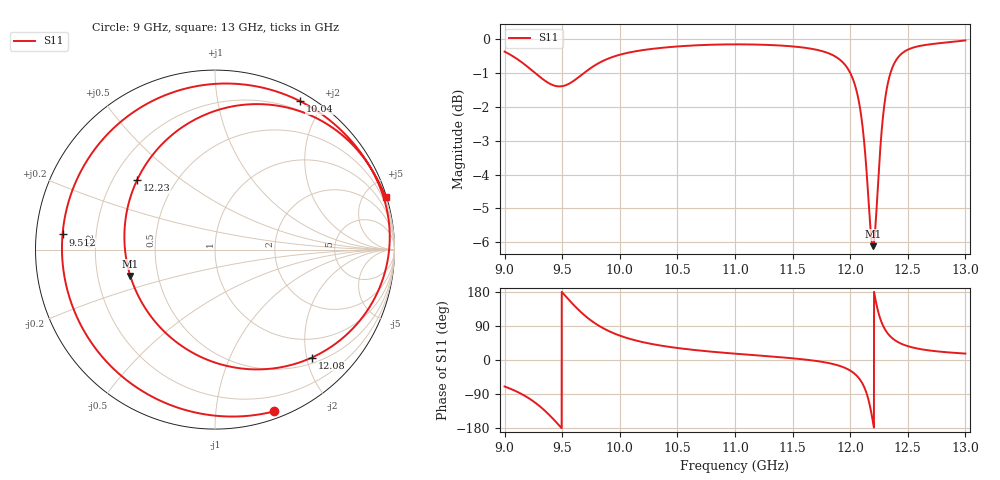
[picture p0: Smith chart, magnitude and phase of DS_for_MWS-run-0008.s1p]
! TOUCHSTONE file generated by CST DESIGN STUDIO
! Date and time: Tue Feb  4 16:20:46 2025
! Project name: C:\Work\MatlabApps\UnitCellOptimizationMatlab\CST\unitcell.cst
! Tree item: Tasks\Sweep1\SPara1\S-Parameters
! Header version: 2024
! Port assignment regex: !\s*Touchstone port\s*([0-9]+)\s*=\s*(CST MWS port|CST DES external port|CST DES block port)\s*(.+)\s* \(\"(.*)\"\)(\s*mode\s*([0-9]+))?.*
! Touchstone port assignment:
! Touchstone port 1 = CST DES external port 1 ("")
# GHz S MA R 50
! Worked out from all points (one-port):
!   4001 points, 9 GHz to 13 GHz, reference 50 ohm
!   lowest |S11| = -6.1 dB at 12.2 GHz (marker M1), VSWR 2.95, Z = 17.3 - j6.72 ohm
!   |S11| at or under -10 dB: nowhere
!   S11 on the Smith chart (normalised r, x): 9 GHz: 0.06, -1.43; 9.512 GHz: 0.08, +0.05; 10.04 GHz: 0.10, +1.73; 12.08 GHz: 0.60, -2.10; 12.23 GHz: 0.30, +0.35; 13 GHz: 0.08, +6.70
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9  0.9595 -69.9
9.162  0.9216 -92.2
9.28  0.8877 -116.0
9.383  0.8618 -143.6
9.5  0.8528 178.4
9.512  0.8537 174.3
9.624  0.8746 137.7
9.723  0.901 110.6
9.837  0.9265 87.1
10  0.9494 64.3
10.041  0.9533 60.1
10.238  0.9665 44.6
10.5  0.9765 31.7
11  0.9836 16.7
11.5  0.9767 4.5
11.808  0.9547 -7.7
12  0.8924 -27.8
12.076  0.8083 -48.1
12.116  0.72 -67.8
12.145  0.6278 -90.5
12.17  0.5419 -119.5
12.197  0.4942 -162.7
12.234  0.5813 138.4
12.269  0.7183 102.2
12.308  0.8268 77.8
12.387  0.9248 52.5
12.5  0.9659 36.5
13  0.9967 17.0
